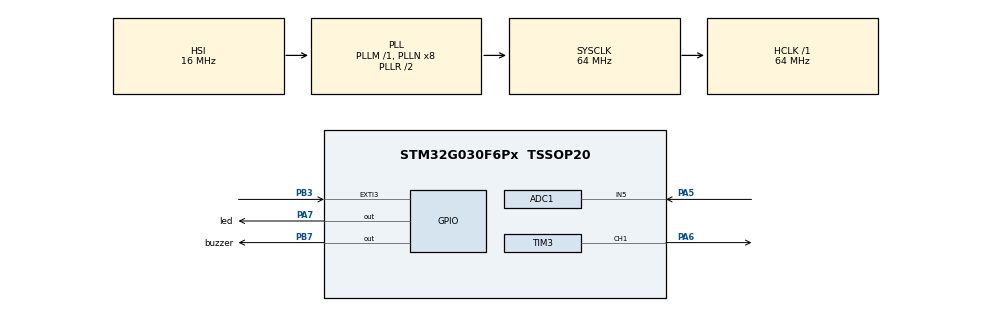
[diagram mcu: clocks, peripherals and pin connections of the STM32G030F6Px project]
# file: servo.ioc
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ADC1.Channel-0\#ChannelRegularConversion=ADC_CHANNEL_5
ADC1.Channel-1\#ChannelRegularConversion=ADC_CHANNEL_VREFINT
ADC1.ClockPrescaler=ADC_CLOCK_ASYNC_DIV64
ADC1.ContinuousConvMode=ENABLE
ADC1.DMAContinuousRequests=ENABLE
ADC1.EOCSelection=ADC_EOC_SEQ_CONV
ADC1.NbrOfConversion=2
ADC1.NbrOfConversionFlag=1
ADC1.Rank-0\#ChannelRegularConversion=1
ADC1.Rank-1\#ChannelRegularConversion=2
ADC1.SamplingTime-0\#ChannelRegularConversion=ADC_SAMPLINGTIME_COMMON_1
ADC1.SamplingTime-1\#ChannelRegularConversion=ADC_SAMPLINGTIME_COMMON_2
ADC1.SamplingTimeCommon1=ADC_SAMPLETIME_160CYCLES_5
ADC1.SamplingTimeCommon2=ADC_SAMPLETIME_160CYCLES_5
ADC1.SelectedChannel=ADC_CHANNEL_5|ADC_CHANNEL_VREFINT
ADC1.master=1
Dma.ADC1.0.Direction=DMA_PERIPH_TO_MEMORY
Dma.ADC1.0.EventEnable=DISABLE
Dma.ADC1.0.Instance=DMA1_Channel1
Dma.ADC1.0.MemDataAlignment=DMA_MDATAALIGN_HALFWORD
Dma.ADC1.0.MemInc=DMA_MINC_ENABLE
Dma.ADC1.0.Mode=DMA_CIRCULAR
Dma.ADC1.0.PeriphDataAlignment=DMA_PDATAALIGN_HALFWORD
Dma.ADC1.0.PeriphInc=DMA_PINC_DISABLE
Dma.ADC1.0.Polarity=HAL_DMAMUX_REQ_GEN_RISING
Dma.ADC1.0.Priority=DMA_PRIORITY_LOW
Dma.ADC1.0.RequestNumber=1
Dma.ADC1.0.SignalID=NONE
Dma.ADC1.0.SyncEnable=DISABLE
Dma.ADC1.0.SyncPolarity=HAL_DMAMUX_SYNC_NO_EVENT
Dma.ADC1.0.SyncRequestNumber=1
Dma.ADC1.0.SyncSignalID=NONE
Dma.Request0=ADC1
Mcu.Family=STM32G0
Mcu.Name=STM32G030F6Px
Mcu.Package=TSSOP20
NVIC.DMA1_Channel1_IRQn=true\:0\:0\:false\:false\:true\:false\:true\:true
NVIC.EXTI2_3_IRQn=true\:0\:0\:false\:false\:true\:true\:true\:true
NVIC.TIM16_IRQn=true\:0\:0\:false\:false\:true\:true\:true\:true
PA13.Mode=Serial_Wire
PA13.Signal=SYS_SWDIO
PA14-BOOT0.Mode=Serial_Wire
PA14-BOOT0.Signal=SYS_SWCLK
PA14-BOOT0__PA15.StandardMode=true
PA5.Mode=IN5
PA5.Signal=ADC1_IN5
PA6.GPIO_Speed=GPIO_SPEED_FREQ_VERY_HIGH
PA6.Signal=S_TIM3_CH1
PA7.GPIO_Label=led
PA7.Signal=GPIO_Output
PB0__PB1__PB2__PA8.StandardMode=true
PB3.GPIO_ModeDefaultEXTI=GPIO_MODE_IT_FALLING
PB3.GPIO_PuPd=GPIO_PULLUP
PB3.Signal=GPXTI3
PB3__PB4__PB5__PB6.StandardMode=true
PB7.GPIO_Label=buzzer
PB7.Signal=GPIO_Output
PB7__PB8.StandardMode=true
PC14-OSC32_IN\ (PC14)__PB9.StandardMode=true
ProjectManager.HeapSize=0x200
ProjectManager.StackSize=0x400
ProjectManager.TargetToolchain=STM32CubeIDE
RCC.ADCCLockSelection=RCC_ADCCLKSOURCE_HSI
RCC.ADCFreq_Value=16000000
RCC.AHBFreq_Value=64000000
RCC.CortexFreq_Value=64000000
RCC.EXTERNAL_CLOCK_VALUE=12288000
RCC.HCLKFreq_Value=64000000
RCC.HSE_VALUE=8000000
RCC.HSI_VALUE=16000000
RCC.LSE_VALUE=32768
RCC.SYSCLKFreq_VALUE=64000000
RCC.SYSCLKSource=RCC_SYSCLKSOURCE_PLLCLK
RCC.VCOOutputFreq_Value=128000000
SH.S_TIM3_CH1.0=TIM3_CH1,PWM Generation1 CH1
TIM16.AutoReloadPreload=TIM_AUTORELOAD_PRELOAD_ENABLE
TIM16.Period=10666
TIM16.Prescaler=0
TIM3.AutoReloadPreload=TIM_AUTORELOAD_PRELOAD_ENABLE
TIM3.Channel-PWM\ Generation1\ CH1=TIM_CHANNEL_1
TIM3.Period=2559
VP_ADC1_Vref_Input.Mode=IN-Vrefint
VP_TIM16_VS_ClockSourceINT.Mode=Enable_Timer
VP_TIM3_VS_ClockSourceINT.Mode=Internal
board=custom

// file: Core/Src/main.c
/* USER CODE BEGIN Header */
/**
  ******************************************************************************
  * @file           : main.c
  * @brief          : Main program body
  ******************************************************************************
  * @attention
  *
  * Copyright (c) 2026 STMicroelectronics.
  * All rights reserved.
  *
  * This software is licensed under terms that can be found in the LICENSE file
  * in the root directory of this software component.
  * If no LICENSE file comes with this software, it is provided AS-IS.
  *
  ******************************************************************************
  */
/* USER CODE END Header */
#include "main.h"

/* USER CODE BEGIN PD */
#define BUZZER 250 // half period in millis

#define VREFINT 1.212
#define POWEROFF_THRESHOLD VREFINT/3.05*4095

#define I_STALL 0.8
#define R_SHUNT 0.22
#define THRESHOLD I_STALL*R_SHUNT/3.3*4095

#define DEBOUNCE 500

#define SOFTSTART 100
#define ADC_DELAY 100
#define ADCSTART0 (SOFTSTART+ADC_DELAY)
/* USER CODE END PD */

ADC_HandleTypeDef hadc1;
DMA_HandleTypeDef hdma_adc1;

TIM_HandleTypeDef htim3;
TIM_HandleTypeDef htim16;

/* USER CODE BEGIN PV */
volatile uint8_t ticked=0,pressed=0,complete=0,interrupts=1;
uint8_t adc=0,stall=0,buzzer=0,state=0;
volatile uint16_t ADC_VAL[ARRAY];
uint16_t current=0,current2=0,sum=0;
volatile uint32_t last_debounce=0;
uint32_t tick=0;

/* USER CODE END PV */

void SystemClock_Config(void);
static void MX_GPIO_Init(void);
static void MX_DMA_Init(void);
static void MX_ADC1_Init(void);
static void MX_TIM16_Init(void);
static void MX_TIM3_Init(void);

int main(void)
{

  /* MCU Configuration--------------------------------------------------------*/

  /* Reset of all peripherals, Initializes the Flash interface and the Systick. */
  HAL_Init();

  /* Configure the system clock */
  SystemClock_Config();

  /* Initialize all configured peripherals */
  MX_GPIO_Init();
  MX_DMA_Init();
  MX_ADC1_Init();
  MX_TIM16_Init();
  MX_TIM3_Init();
  /* USER CODE BEGIN 2 */

  HAL_TIM_Base_Start_IT(&htim16);
  HAL_TIM_PWM_Start(&htim3, TIM_CHANNEL_1);
  /* USER CODE END 2 */

  /* Infinite loop */
  /* USER CODE BEGIN WHILE */
  while(1){
	if(pressed){
		pressed=0;
		if(state!=2){
		    state=2;
		}
		else{
		    state=0;
		}
	}
	if(ticked){
		ticked=0;
		tick=HAL_GetTick();
		if(tick%BUZZER==0){
			buzzer=!buzzer;
		}
		if(restart==0 && tick>=ADCSTART0 && adc==0){ // only at bootup
			HAL_ADC_Start_DMA(&hadc1, (uint32_t*)&ADC_VAL, 30); // always first in systick
			adc=1;
		}
		else if(restart!=0 && tick>=restart+ADC_DELAY && adc==0){
			HAL_ADC_Start_DMA(&hadc1, (uint32_t*)&ADC_VAL, 30); // always first in systick
			adc=1;
		}
		if(tick>last_debounce+DEBOUNCE && interrupts==0){
		    __HAL_GPIO_EXTI_CLEAR_FALLING_IT(GPIO_PIN_3);
		    HAL_NVIC_ClearPendingIRQ(EXTI2_3_IRQn);
			HAL_NVIC_EnableIRQ(EXTI2_3_IRQn);
			interrupts=1;
		}
		if(servo_power_rdy==0&&tick>=SOFTSTART){
			servo_power_rdy=1;
		}

		if(servo_power_rdy&&stall==0&&tick%1000==0){ //pakeitus aparatura isimt maitinimo uzdelsima
			if(state==0){
			    TIM14->CCR1=65535;
			    state=1;
			}
			else if(state==1){
			    TIM14->CCR1=0;
			    state=0;
			}
			else{
			    TIM14->CCR1=10000;
			}

		}
		if(stall){
			HAL_ADC_Stop_DMA(&hadc1); // stop sampling for stalls & position
			TIM14->CCR1=0;
			adc=0;
			HAL_GPIO_WritePin(led_GPIO_Port, led_Pin, 1); // alert LED on
		}
		TIM14->CCR1 = (angle/180.0*0.094+0.028)*65535;

		if(complete){
			HAL_ADC_Stop_DMA(&hadc1);
			complete=0;
			int i;
			for(i=0;i<30;i+=2){
				sum+=ADC_VAL[i];
			}
			sum=sum/15;
			if(sum>THRESHOLD){
				stall=1;
			}
			else if(stall==0){
				HAL_ADC_Start_DMA(&hadc1, (uint32_t*)&ADC_VAL, 30);
			}
			sum=0;
		}

	}

    /* USER CODE END WHILE */

  }
}

void SystemClock_Config(void)
{
  RCC_OscInitTypeDef RCC_OscInitStruct = {0};
  RCC_ClkInitTypeDef RCC_ClkInitStruct = {0};

  /** Configure the main internal regulator output voltage
  */
  HAL_PWREx_ControlVoltageScaling(PWR_REGULATOR_VOLTAGE_SCALE1);

  /** Initializes the RCC Oscillators according to the specified parameters
  * in the RCC_OscInitTypeDef structure.
  */
  RCC_OscInitStruct.OscillatorType = RCC_OSCILLATORTYPE_HSI;
  RCC_OscInitStruct.HSIState = RCC_HSI_ON;
  RCC_OscInitStruct.HSIDiv = RCC_HSI_DIV1;
  RCC_OscInitStruct.HSICalibrationValue = RCC_HSICALIBRATION_DEFAULT;
  RCC_OscInitStruct.PLL.PLLState = RCC_PLL_ON;
  RCC_OscInitStruct.PLL.PLLSource = RCC_PLLSOURCE_HSI;
  RCC_OscInitStruct.PLL.PLLM = RCC_PLLM_DIV1;
  RCC_OscInitStruct.PLL.PLLN = 8;
  RCC_OscInitStruct.PLL.PLLP = RCC_PLLP_DIV2;
  RCC_OscInitStruct.PLL.PLLR = RCC_PLLR_DIV2;
  if (HAL_RCC_OscConfig(&RCC_OscInitStruct) != HAL_OK)
  {
    Error_Handler();
  }

  /** Initializes the CPU, AHB and APB buses clocks
  */
  RCC_ClkInitStruct.ClockType = RCC_CLOCKTYPE_HCLK|RCC_CLOCKTYPE_SYSCLK
                              |RCC_CLOCKTYPE_PCLK1;
  RCC_ClkInitStruct.SYSCLKSource = RCC_SYSCLKSOURCE_PLLCLK;
  RCC_ClkInitStruct.AHBCLKDivider = RCC_SYSCLK_DIV1;
  RCC_ClkInitStruct.APB1CLKDivider = RCC_HCLK_DIV1;

  if (HAL_RCC_ClockConfig(&RCC_ClkInitStruct, FLASH_LATENCY_2) != HAL_OK)
  {
    Error_Handler();
  }
}

static void MX_ADC1_Init(void)
{

  ADC_ChannelConfTypeDef sConfig = {0};

  /** Configure the global features of the ADC (Clock, Resolution, Data Alignment and number of conversion)
  */
  hadc1.Instance = ADC1;
  hadc1.Init.ClockPrescaler = ADC_CLOCK_ASYNC_DIV64;
  hadc1.Init.Resolution = ADC_RESOLUTION_12B;
  hadc1.Init.DataAlign = ADC_DATAALIGN_RIGHT;
  hadc1.Init.ScanConvMode = ADC_SCAN_ENABLE;
  hadc1.Init.EOCSelection = ADC_EOC_SEQ_CONV;
  hadc1.Init.LowPowerAutoWait = DISABLE;
  hadc1.Init.LowPowerAutoPowerOff = DISABLE;
  hadc1.Init.ContinuousConvMode = ENABLE;
  hadc1.Init.NbrOfConversion = 2;
  hadc1.Init.ExternalTrigConv = ADC_SOFTWARE_START;
  hadc1.Init.ExternalTrigConvEdge = ADC_EXTERNALTRIGCONVEDGE_NONE;
  hadc1.Init.DMAContinuousRequests = ENABLE;
  hadc1.Init.Overrun = ADC_OVR_DATA_PRESERVED;
  hadc1.Init.SamplingTimeCommon1 = ADC_SAMPLETIME_160CYCLES_5;
  hadc1.Init.SamplingTimeCommon2 = ADC_SAMPLETIME_160CYCLES_5;
  hadc1.Init.OversamplingMode = DISABLE;
  hadc1.Init.TriggerFrequencyMode = ADC_TRIGGER_FREQ_HIGH;
  if (HAL_ADC_Init(&hadc1) != HAL_OK)
  {
    Error_Handler();
  }

  /** Configure Regular Channel
  */
  sConfig.Channel = ADC_CHANNEL_5;
  sConfig.Rank = ADC_REGULAR_RANK_1;
  sConfig.SamplingTime = ADC_SAMPLINGTIME_COMMON_1;
  if (HAL_ADC_ConfigChannel(&hadc1, &sConfig) != HAL_OK)
  {
    Error_Handler();
  }

  /** Configure Regular Channel
  */
  sConfig.Channel = ADC_CHANNEL_VREFINT;
  sConfig.Rank = ADC_REGULAR_RANK_2;
  sConfig.SamplingTime = ADC_SAMPLINGTIME_COMMON_2;
  if (HAL_ADC_ConfigChannel(&hadc1, &sConfig) != HAL_OK)
  {
    Error_Handler();
  }

}

static void MX_TIM3_Init(void)
{

  TIM_ClockConfigTypeDef sClockSourceConfig = {0};
  TIM_MasterConfigTypeDef sMasterConfig = {0};
  TIM_OC_InitTypeDef sConfigOC = {0};

  /* USER CODE BEGIN TIM3_Init 1 */
  // 25 kHz drive
  /* USER CODE END TIM3_Init 1 */
  htim3.Instance = TIM3;
  htim3.Init.Prescaler = 0;
  htim3.Init.CounterMode = TIM_COUNTERMODE_UP;
  htim3.Init.Period = 2559;
  htim3.Init.ClockDivision = TIM_CLOCKDIVISION_DIV1;
  htim3.Init.AutoReloadPreload = TIM_AUTORELOAD_PRELOAD_ENABLE;
  if (HAL_TIM_Base_Init(&htim3) != HAL_OK)
  {
    Error_Handler();
  }
  sClockSourceConfig.ClockSource = TIM_CLOCKSOURCE_INTERNAL;
  if (HAL_TIM_ConfigClockSource(&htim3, &sClockSourceConfig) != HAL_OK)
  {
    Error_Handler();
  }
  if (HAL_TIM_PWM_Init(&htim3) != HAL_OK)
  {
    Error_Handler();
  }
  sMasterConfig.MasterOutputTrigger = TIM_TRGO_RESET;
  sMasterConfig.MasterSlaveMode = TIM_MASTERSLAVEMODE_DISABLE;
  if (HAL_TIMEx_MasterConfigSynchronization(&htim3, &sMasterConfig) != HAL_OK)
  {
    Error_Handler();
  }
  sConfigOC.OCMode = TIM_OCMODE_PWM1;
  sConfigOC.Pulse = 0;
  sConfigOC.OCPolarity = TIM_OCPOLARITY_HIGH;
  sConfigOC.OCFastMode = TIM_OCFAST_DISABLE;
  if (HAL_TIM_PWM_ConfigChannel(&htim3, &sConfigOC, TIM_CHANNEL_1) != HAL_OK)
  {
    Error_Handler();
  }
  HAL_TIM_MspPostInit(&htim3);

}

static void MX_TIM16_Init(void)
{

  htim16.Instance = TIM16;
  htim16.Init.Prescaler = 0;
  htim16.Init.CounterMode = TIM_COUNTERMODE_UP;
  htim16.Init.Period = 10666;
  htim16.Init.ClockDivision = TIM_CLOCKDIVISION_DIV1;
  htim16.Init.RepetitionCounter = 0;
  htim16.Init.AutoReloadPreload = TIM_AUTORELOAD_PRELOAD_ENABLE;
  if (HAL_TIM_Base_Init(&htim16) != HAL_OK)
  {
    Error_Handler();
  }

}

static void MX_DMA_Init(void)
{

  /* DMA controller clock enable */
  __HAL_RCC_DMA1_CLK_ENABLE();

  /* DMA interrupt init */
  /* DMA1_Channel1_IRQn interrupt configuration */
  HAL_NVIC_SetPriority(DMA1_Channel1_IRQn, 0, 0);
  HAL_NVIC_EnableIRQ(DMA1_Channel1_IRQn);

}

static void MX_GPIO_Init(void)
{
  GPIO_InitTypeDef GPIO_InitStruct = {0};

  /* GPIO Ports Clock Enable */
  __HAL_RCC_GPIOB_CLK_ENABLE();
  __HAL_RCC_GPIOA_CLK_ENABLE();

  /*Configure GPIO pin Output Level */
  HAL_GPIO_WritePin(buzzer_GPIO_Port, buzzer_Pin, GPIO_PIN_RESET);

  /*Configure GPIO pin Output Level */
  HAL_GPIO_WritePin(led_GPIO_Port, led_Pin, GPIO_PIN_RESET);

  /*Configure GPIO pin : buzzer_Pin */
  GPIO_InitStruct.Pin = buzzer_Pin;
  GPIO_InitStruct.Mode = GPIO_MODE_OUTPUT_PP;
  GPIO_InitStruct.Pull = GPIO_NOPULL;
  GPIO_InitStruct.Speed = GPIO_SPEED_FREQ_LOW;
  HAL_GPIO_Init(buzzer_GPIO_Port, &GPIO_InitStruct);

  /*Configure GPIO pin : led_Pin */
  GPIO_InitStruct.Pin = led_Pin;
  GPIO_InitStruct.Mode = GPIO_MODE_OUTPUT_PP;
  GPIO_InitStruct.Pull = GPIO_NOPULL;
  GPIO_InitStruct.Speed = GPIO_SPEED_FREQ_LOW;
  HAL_GPIO_Init(led_GPIO_Port, &GPIO_InitStruct);

  /*Configure GPIO pin : PB3 */
  GPIO_InitStruct.Pin = GPIO_PIN_3;
  GPIO_InitStruct.Mode = GPIO_MODE_IT_FALLING;
  GPIO_InitStruct.Pull = GPIO_PULLUP;
  HAL_GPIO_Init(GPIOB, &GPIO_InitStruct);

  /* EXTI interrupt init*/
  HAL_NVIC_SetPriority(EXTI2_3_IRQn, 0, 0);
  HAL_NVIC_EnableIRQ(EXTI2_3_IRQn);

}

/* USER CODE BEGIN 4 */
HAL_StatusTypeDef Erase_Flash_Page(uint32_t page_num){
    HAL_StatusTypeDef status;
    uint32_t page_error = 0;
    HAL_FLASH_Unlock();

    __HAL_FLASH_CLEAR_FLAG(FLASH_FLAG_OPERR);
    __HAL_FLASH_CLEAR_FLAG(FLASH_FLAG_PROGERR);
    __HAL_FLASH_CLEAR_FLAG(FLASH_FLAG_WRPERR);
    __HAL_FLASH_CLEAR_FLAG(FLASH_FLAG_PGAERR);
    __HAL_FLASH_CLEAR_FLAG(FLASH_FLAG_SIZERR);
    __HAL_FLASH_CLEAR_FLAG(FLASH_FLAG_PGSERR);
    __HAL_FLASH_CLEAR_FLAG(FLASH_FLAG_MISERR);
    __HAL_FLASH_CLEAR_FLAG(FLASH_FLAG_FASTERR);
    __HAL_FLASH_CLEAR_FLAG(FLASH_FLAG_OPTVERR);

    // 3. Configure page erase parameters
    FLASH_EraseInitTypeDef eraseConfig = {0};
    eraseConfig.TypeErase   = FLASH_TYPEERASE_PAGES;
    eraseConfig.Banks       = FLASH_BANK_1;
    eraseConfig.Page        = page_num;
    eraseConfig.NbPages     = 1;

    status = HAL_FLASHEx_Erase(&eraseConfig, &page_error);
    HAL_FLASH_Lock();
    return status;
}
HAL_StatusTypeDef Write_Flash(uint32_t address, uint8_t value){
    HAL_StatusTypeDef status;
    HAL_FLASH_Unlock();

    __HAL_FLASH_CLEAR_FLAG(FLASH_FLAG_OPERR);
    __HAL_FLASH_CLEAR_FLAG(FLASH_FLAG_PROGERR);
    __HAL_FLASH_CLEAR_FLAG(FLASH_FLAG_WRPERR);
    __HAL_FLASH_CLEAR_FLAG(FLASH_FLAG_PGAERR);
    __HAL_FLASH_CLEAR_FLAG(FLASH_FLAG_SIZERR);
    __HAL_FLASH_CLEAR_FLAG(FLASH_FLAG_PGSERR);
    __HAL_FLASH_CLEAR_FLAG(FLASH_FLAG_MISERR);
    __HAL_FLASH_CLEAR_FLAG(FLASH_FLAG_FASTERR);
    __HAL_FLASH_CLEAR_FLAG(FLASH_FLAG_OPTVERR);

    status = HAL_FLASH_Program(FLASH_TYPEPROGRAM_DOUBLEWORD, address, value);
    HAL_FLASH_Lock();
    return status;
}

void HAL_ADC_ConvCpltCallback(ADC_HandleTypeDef* hadc)
{
	complete=1;
}
void HAL_GPIO_EXTI_Falling_Callback(uint16_t GPIO_Pin){
	HAL_NVIC_DisableIRQ(EXTI2_3_IRQn);
	interrupts=0;
	last_debounce=HAL_GetTick();
	pressed=1;
}
void HAL_TIM_PeriodElapsedCallback(TIM_HandleTypeDef* htim){
	if(htim->Instance == TIM16){
		if(stall&&buzzer){
			HAL_GPIO_TogglePin(buzzer_GPIO_Port, buzzer_Pin);
		}
		else{
			HAL_GPIO_WritePin(buzzer_GPIO_Port, buzzer_Pin, 0);
		}
	}
}
/* USER CODE END 4 */

void Error_Handler(void)
{
  __disable_irq();
  while (1)
  {
  }
}
